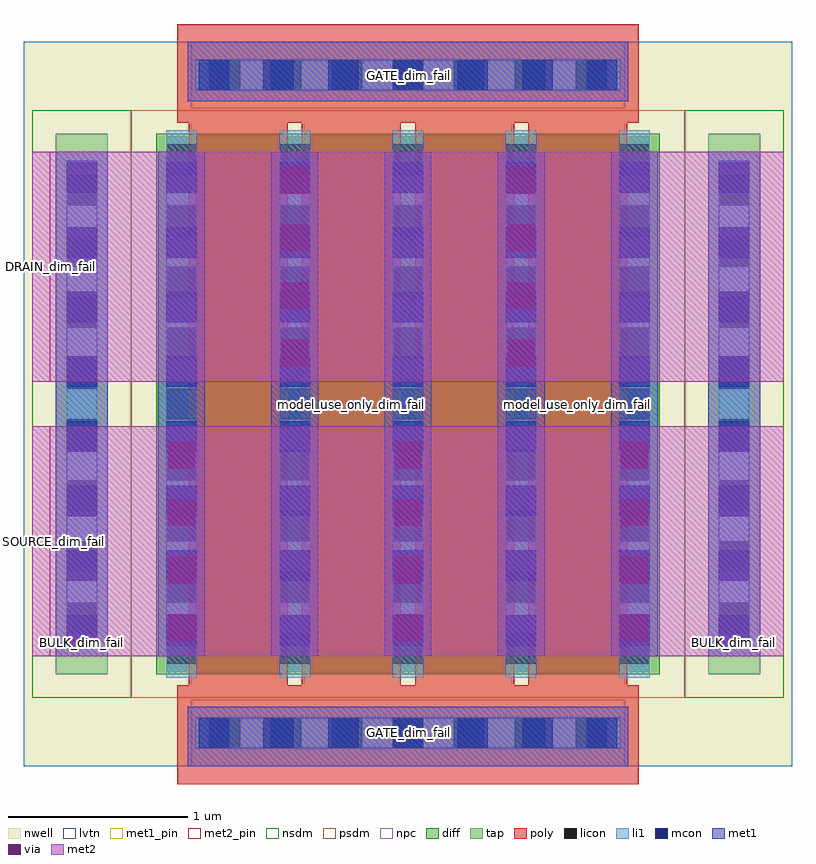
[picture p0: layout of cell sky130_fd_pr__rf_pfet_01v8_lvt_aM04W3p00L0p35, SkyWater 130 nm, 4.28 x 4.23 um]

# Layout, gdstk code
import gdstk
lib = gdstk.Library(unit=1e-6, precision=1e-09)
def R(c, l, rs):  # rectangles x0, y0, x1, y1
    for r in rs: c.add(gdstk.rectangle(r[:2], r[2:], *l))
def A(c, l, x, y, w, h, nx, ny, dx, dy):  # array of equal rectangles
    R(c, l, [(x+i*dx, y+j*dy, x+i*dx+w, y+j*dy+h) for i in range(nx) for j in range(ny)])
def P(c, l, *ps):  # polygons
    for p in ps: c.add(gdstk.Polygon(p, *l))
nwell = (64, 20)
diff = (65, 20)
tap = (65, 44)
poly = (66, 20)
licon = (66, 44)
li1 = (67, 20)
mcon = (67, 44)
met1_pin = (68, 16)
met1 = (68, 20)
via = (68, 44)
met2_pin = (69, 16)
met2 = (69, 20)
nsdm = (93, 44)
psdm = (94, 20)
npc = (95, 20)
lvtn = (125, 44)

sky130_fd_pr__rf_pfet_01 = lib.new_cell('sky130_fd_pr__rf_pfet_01v8_lvt_aM04W3p00L0p35')
R(sky130_fd_pr__rf_pfet_01, nwell, [(0,0,4.28,4.03)])
R(sky130_fd_pr__rf_pfet_01, diff, [(0.74,0.51,3.54,3.52)])
R(sky130_fd_pr__rf_pfet_01, tap, [(0.18,0.51,0.47,3.52), (3.81,0.51,4.1,3.52)])
P(sky130_fd_pr__rf_pfet_01, poly, [(0.855,-0.1),(0.855,0.45),(0.92,0.45),(0.92,3.58),(1.47,3.58),(1.47,0.45),(1.55,0.45),(1.55,3.58),(2.1,3.58),(2.1,0.45),(2.18,0.45),(2.18,3.58),(2.73,3.58),(2.73,0.45),(2.81,0.45),(2.81,3.58),(0.855,3.58),(0.855,4.13),(3.425,4.13),(3.425,3.58),(3.36,3.58),(3.36,0.45),(3.425,0.45),(3.425,-0.1)])
A(sky130_fd_pr__rf_pfet_01, licon, 1.035, 0.1, 0.17, 0.17, 7, 2, 0.34, 3.66)
A(sky130_fd_pr__rf_pfet_01, licon, 0.795, 0.57, 0.17, 0.17, 5, 9, 0.63, 0.34)
A(sky130_fd_pr__rf_pfet_01, licon, 0.24, 0.74, 0.17, 0.17, 1, 8, 0, 0.34)
A(sky130_fd_pr__rf_pfet_01, licon, 3.87, 0.74, 0.17, 0.17, 1, 8, 0, 0.34)
A(sky130_fd_pr__rf_pfet_01, li1, 0.795, 0.49, 0.17, 3.05, 5, 1, 0.63, 0)
A(sky130_fd_pr__rf_pfet_01, li1, 0.795, 0.67, 0.17, 2.69, 5, 1, 0.63, 0)
R(sky130_fd_pr__rf_pfet_01, li1, [(0.955,0.1,3.325,0.27), (0.24,0.66,0.41,3.37), (3.87,0.66,4.04,3.37), (0.24,0.67,0.41,3.36), (3.87,0.67,4.04,3.36), (0.955,3.76,3.325,3.93)])
A(sky130_fd_pr__rf_pfet_01, mcon, 0.975, 0.1, 0.17, 0.17, 7, 2, 0.36, 3.66)
A(sky130_fd_pr__rf_pfet_01, mcon, 0.24, 0.67, 0.17, 0.17, 1, 8, 0, 0.36)
A(sky130_fd_pr__rf_pfet_01, mcon, 0.795, 0.67, 0.17, 0.17, 5, 8, 0.63, 0.36)
A(sky130_fd_pr__rf_pfet_01, mcon, 3.87, 0.67, 0.17, 0.17, 1, 8, 0, 0.36)
R(sky130_fd_pr__rf_pfet_01, met1_pin, [(0.915,0,3.365,0.33), (0.18,0.61,0.47,0.69), (3.81,0.61,4.1,0.69), (0.915,3.7,3.365,4.03)])
A(sky130_fd_pr__rf_pfet_01, met1, 0.75, 0.61, 0.26, 1.28, 3, 1, 1.26, 0)
A(sky130_fd_pr__rf_pfet_01, met1, 0.75, 0.61, 0.26, 2.81, 5, 1, 0.63, 0)
R(sky130_fd_pr__rf_pfet_01, met1, [(0.915,0,3.365,0.33), (0.18,0.61,0.47,3.42), (3.81,0.61,4.1,3.42), (1.38,2.14,1.64,3.42), (2.64,2.14,2.9,3.42), (0.915,3.7,3.365,4.03)])
A(sky130_fd_pr__rf_pfet_01, via, 0.805, 0.695, 0.15, 0.15, 3, 4, 1.26, 0.32)
A(sky130_fd_pr__rf_pfet_01, via, 1.435, 2.225, 0.15, 0.15, 1, 4, 0, 0.32)
A(sky130_fd_pr__rf_pfet_01, via, 2.695, 2.225, 0.15, 0.15, 1, 4, 0, 0.32)
R(sky130_fd_pr__rf_pfet_01, met2_pin, [(0.05,0.61,0.15,1.89), (0.05,2.14,0.15,3.42)])
A(sky130_fd_pr__rf_pfet_01, met2, 0.75, 0.61, 0.26, 1.28, 3, 1, 1.26, 0)
R(sky130_fd_pr__rf_pfet_01, met2, [(0.05,0.61,4.23,1.89), (0.05,2.14,4.23,3.42), (1.38,2.14,1.64,3.42), (2.64,2.14,2.9,3.42)])
R(sky130_fd_pr__rf_pfet_01, nsdm, [(0.05,0.38,0.6,3.65), (3.68,0.38,4.23,3.65)])
R(sky130_fd_pr__rf_pfet_01, psdm, [(0.6,0.38,3.68,3.65)])
R(sky130_fd_pr__rf_pfet_01, npc, [(0.935,0,3.345,0.37), (0.935,3.66,3.345,4.03)])
R(sky130_fd_pr__rf_pfet_01, lvtn, [(0,0,4.28,4.03)])
sky130_fd_pr__rf_pfet_01.add(gdstk.Label('model_use_only_dim_fail', (1.825,2.01), layer=66, texttype=83))
sky130_fd_pr__rf_pfet_01.add(gdstk.Label('model_use_only_dim_fail', (1.195,2.01), layer=66, texttype=83))
sky130_fd_pr__rf_pfet_01.add(gdstk.Label('model_use_only_dim_fail', (2.455,2.01), layer=66, texttype=83))
sky130_fd_pr__rf_pfet_01.add(gdstk.Label('model_use_only_dim_fail', (3.085,2.01), layer=66, texttype=83))
sky130_fd_pr__rf_pfet_01.add(gdstk.Label('SOURCE_dim_fail', (0.15,1.25), layer=69, texttype=5))
sky130_fd_pr__rf_pfet_01.add(gdstk.Label('DRAIN_dim_fail', (0.15,2.78), layer=69, texttype=5))
sky130_fd_pr__rf_pfet_01.add(gdstk.Label('BULK_dim_fail', (3.95,0.69), layer=68, texttype=5))
sky130_fd_pr__rf_pfet_01.add(gdstk.Label('GATE_dim_fail', (2.14,0.185), layer=68, texttype=5))
sky130_fd_pr__rf_pfet_01.add(gdstk.Label('GATE_dim_fail', (2.14,3.845), layer=68, texttype=5))
sky130_fd_pr__rf_pfet_01.add(gdstk.Label('BULK_dim_fail', (0.32,0.69), layer=68, texttype=5))

lib.write_gds('sky130_fd_pr__rf_pfet_01v8_lvt_aM04W3p00L0p35.gds')
